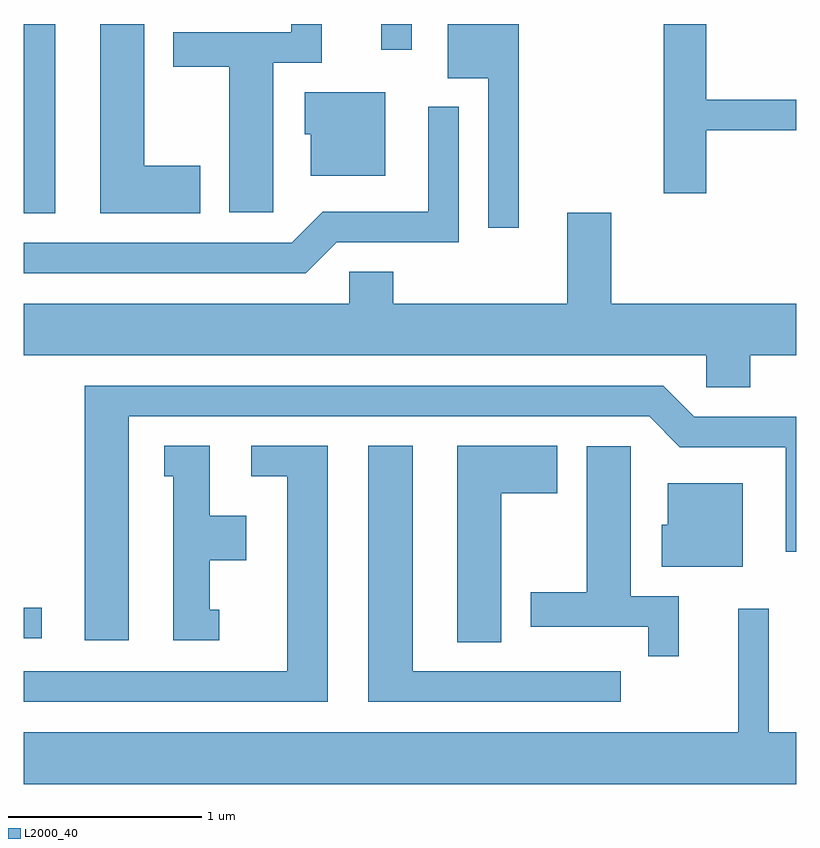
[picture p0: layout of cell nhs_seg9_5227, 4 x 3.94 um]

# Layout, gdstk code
import gdstk
lib = gdstk.Library(unit=1e-6, precision=1e-09)
def R(c, l, rs):  # rectangles x0, y0, x1, y1
    for r in rs: c.add(gdstk.rectangle(r[:2], r[2:], *l))
def P(c, l, *ps):  # polygons
    for p in ps: c.add(gdstk.Polygon(p, *l))
L2000_40 = (2000, 40)

nhs_seg9_5227 = lib.new_cell('nhs_seg9_5227')
R(nhs_seg9_5227, L2000_40, [(339.611,1979.251,339.703,1979.409), (339.611,1981.451,339.774,1982.432), (341.461,1982.298,341.619,1982.432)])
P(nhs_seg9_5227, L2000_40, [(340.904,1982.231),(341.154,1982.231),(341.154,1982.432),(340.996,1982.432),(340.996,1982.389),(340.386,1982.389),(340.386,1982.211),(340.676,1982.211),(340.676,1981.456),(340.904,1981.456)],
  [(343.144,1981.881),(343.611,1981.881),(343.611,1982.039),(343.144,1982.039),(343.144,1982.432),(342.926,1982.432),(342.926,1981.556),(343.144,1981.556)],
  [(342.174,1982.432),(341.806,1982.432),(341.806,1982.151),(342.016,1982.151),(342.016,1981.378),(342.174,1981.378)],
  [(340.524,1981.699),(340.234,1981.699),(340.234,1982.432),(340.006,1982.432),(340.006,1981.451),(340.524,1981.451)],
  [(341.484,1982.079),(341.066,1982.079),(341.066,1981.861),(341.096,1981.861),(341.096,1981.646),(341.484,1981.646)],
  [(341.232,1981.301),(341.864,1981.301),(341.864,1982.003),(341.706,1982.003),(341.706,1981.459),(341.159,1981.459),(340.999,1981.299),(339.611,1981.299),(339.611,1981.141),(341.072,1981.141)],
  [(343.374,1980.716),(343.611,1980.716),(343.611,1980.984),(342.654,1980.984),(342.654,1981.454),(342.426,1981.454),(342.426,1980.984),(341.524,1980.984),(341.524,1981.149),(341.296,1981.149),(341.296,1980.984),(339.611,1980.984),(339.611,1980.716),(343.146,1980.716),(343.146,1980.551),(343.374,1980.551)],
  [(340.154,1980.401),(342.849,1980.401),(343.009,1980.241),(343.556,1980.241),(343.556,1979.698),(343.611,1979.698),(343.611,1980.399),(343.082,1980.399),(342.922,1980.559),(339.926,1980.559),(339.926,1979.241),(340.154,1979.241)],
  [(340.623,1979.399),(340.574,1979.399),(340.574,1979.656),(340.764,1979.656),(340.764,1979.884),(340.574,1979.884),(340.574,1980.249),(340.338,1980.249),(340.338,1980.091),(340.386,1980.091),(340.386,1979.241),(340.623,1979.241)],
  [(342.084,1980.001),(342.374,1980.001),(342.374,1980.249),(341.856,1980.249),(341.856,1979.231),(342.084,1979.231)],
  [(341.184,1980.249),(340.788,1980.249),(340.788,1980.091),(340.976,1980.091),(340.976,1979.079),(339.611,1979.079),(339.611,1978.921),(341.184,1978.921)],
  [(342.703,1979.079),(341.624,1979.079),(341.624,1980.249),(341.396,1980.249),(341.396,1978.921),(342.703,1978.921)],
  [(343.004,1979.469),(342.754,1979.469),(342.754,1980.244),(342.526,1980.244),(342.526,1979.489),(342.236,1979.489),(342.236,1979.311),(342.846,1979.311),(342.846,1979.158),(343.004,1979.158)],
  [(343.334,1980.054),(342.946,1980.054),(342.946,1979.839),(342.916,1979.839),(342.916,1979.621),(343.334,1979.621)],
  [(343.611,1978.764),(343.469,1978.764),(343.469,1979.403),(343.311,1979.403),(343.311,1978.764),(339.611,1978.764),(339.611,1978.496),(343.611,1978.496)])

lib.write_gds('nhs_seg9_5227.gds')
